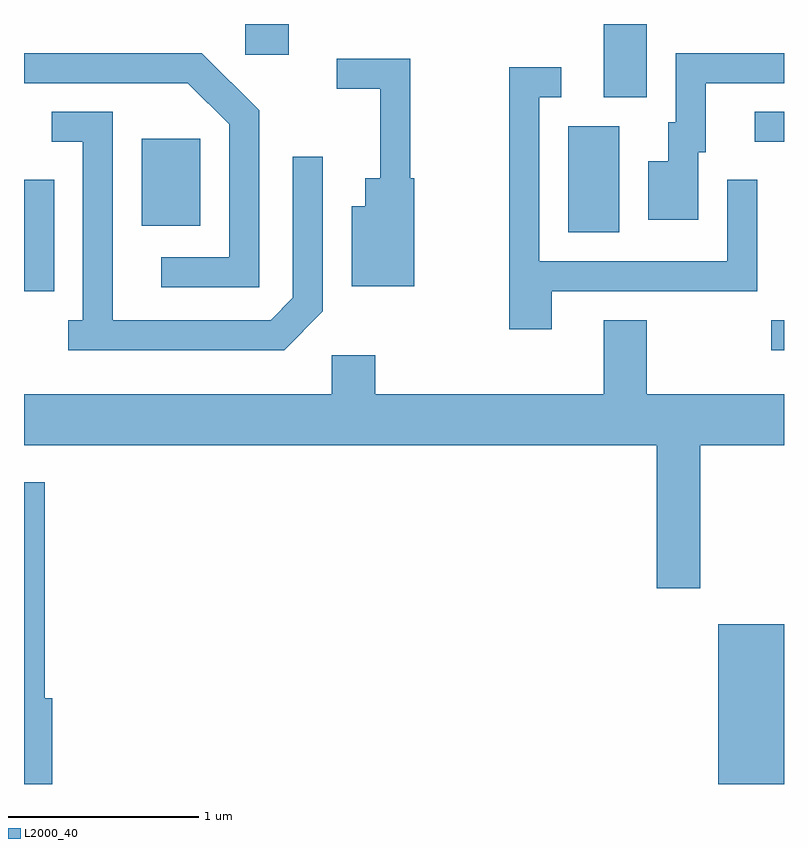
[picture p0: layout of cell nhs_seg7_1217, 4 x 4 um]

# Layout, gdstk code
import gdstk
lib = gdstk.Library(unit=1e-6, precision=1e-09)
def R(c, l, rs):  # rectangles x0, y0, x1, y1
    for r in rs: c.add(gdstk.rectangle(r[:2], r[2:], *l))
def P(c, l, *ps):  # polygons
    for p in ps: c.add(gdstk.Polygon(p, *l))
L2000_40 = (2000, 40)

nhs_seg7_1217 = lib.new_cell('nhs_seg7_1217')
R(nhs_seg7_1217, L2000_40, [(225.266,1770.252,225.611,1771.094), (225.543,1772.536,225.611,1772.694), (221.611,1772.846,221.769,1773.433), (224.476,1773.156,224.744,1773.714), (222.231,1773.191,222.539,1773.649), (225.458,1773.631,225.611,1773.789), (224.661,1773.866,224.889,1774.252), (222.776,1774.091,223.004,1774.252)])
P(nhs_seg7_1217, L2000_40, [(222.849,1773.797),(222.547,1774.099),(221.611,1774.099),(221.611,1773.941),(222.474,1773.941),(222.691,1773.724),(222.691,1773.024),(222.333,1773.024),(222.333,1772.866),(222.849,1772.866)],
  [(225.159,1773.576),(225.199,1773.576),(225.199,1773.941),(225.611,1773.941),(225.611,1774.099),(225.041,1774.099),(225.041,1773.734),(225.001,1773.734),(225.001,1773.529),(224.896,1773.529),(224.896,1773.221),(225.159,1773.221)],
  [(223.664,1773.439),(223.644,1773.439),(223.644,1774.069),(223.258,1774.069),(223.258,1773.911),(223.486,1773.911),(223.486,1773.439),(223.406,1773.439),(223.406,1773.294),(223.336,1773.294),(223.336,1772.871),(223.664,1772.871)],
  [(224.389,1772.846),(225.469,1772.846),(225.469,1773.433),(225.311,1773.433),(225.311,1773.004),(224.324,1773.004),(224.324,1773.866),(224.438,1773.866),(224.438,1774.024),(224.166,1774.024),(224.166,1772.646),(224.389,1772.646)],
  [(223.184,1772.739),(223.184,1773.553),(223.026,1773.553),(223.026,1772.812),(222.909,1772.694),(222.079,1772.694),(222.079,1773.789),(221.758,1773.789),(221.758,1773.631),(221.921,1773.631),(221.921,1772.694),(221.843,1772.694),(221.843,1772.536),(222.982,1772.536)],
  [(225.169,1772.036),(225.611,1772.036),(225.611,1772.304),(224.889,1772.304),(224.889,1772.694),(224.661,1772.694),(224.661,1772.304),(223.459,1772.304),(223.459,1772.509),(223.231,1772.509),(223.231,1772.304),(221.611,1772.304),(221.611,1772.036),(224.941,1772.036),(224.941,1771.281),(225.169,1771.281)],
  [(221.759,1770.704),(221.719,1770.704),(221.719,1771.839),(221.611,1771.839),(221.611,1770.252),(221.759,1770.252)])

lib.write_gds('nhs_seg7_1217.gds')
